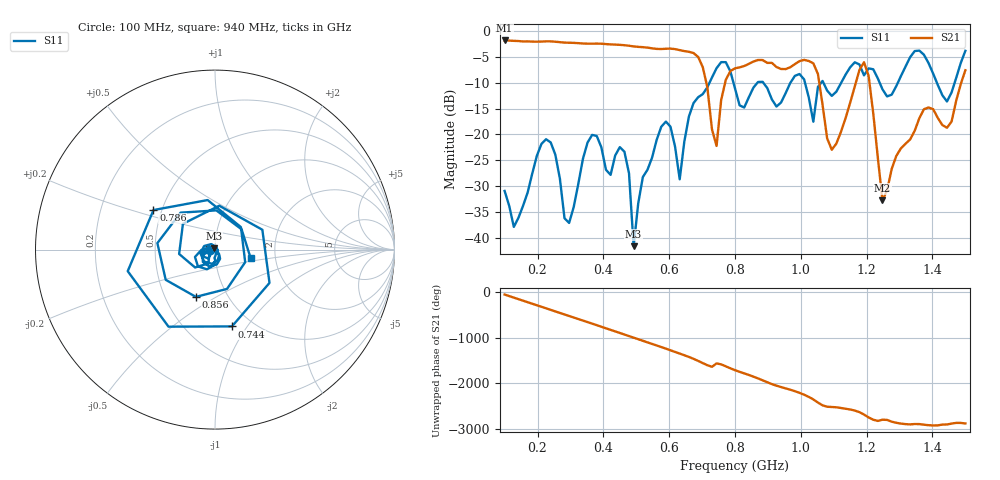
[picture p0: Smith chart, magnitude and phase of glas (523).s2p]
! NanoVNA-App
! Date: 2025-09-25 15:59:33
! Start: 100MHz Stop: 1,5GHz Points: 101
! S-Parameter data: F S11 S21 S12 S22
# Hz S RI R 50
!  Frequency  S11_Real  S11_Imag  S21_Real  S21_Imag  S12_Real  S12_Imag  S22_Real  S22_Imag
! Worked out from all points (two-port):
!   101 points, 100 MHz to 1.5 GHz, reference 50 ohm
!   highest |S21| = -1.80 dB at 100 MHz (marker M1); lowest = -32.8 dB at 1.248 GHz (marker M2)
!   |S21| within 3 dB of the highest: start of sweep to 684.5 MHz
!   lowest |S11| = -41.6 dB at 492 MHz (marker M3), VSWR 1.02, Z = 49.5 + j0.647 ohm
!   |S11| at or under -10 dB: start of sweep to 722.4 MHz; 795.4 MHz to 867.9 MHz (72.56 MHz wide, 8.73 % of centre); 886.2 MHz to 968.3 MHz (82.07 MHz wide, 8.85 % of centre) (the widest 3 of 7)
!   S12 and S22 are empty: the file has one direction only
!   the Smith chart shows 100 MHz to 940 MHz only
!   S11 on the Smith chart (normalised r, x): 100 MHz: 0.95, -0.01; 744 MHz: 0.81, -0.85; 786 MHz: 0.45, +0.24; 856 MHz: 0.71, -0.41; 940 MHz: 1.49, -0.15
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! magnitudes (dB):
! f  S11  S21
! 100 MHz  -30.9  -1.8
! 128 MHz  -37.9  -1.9
! 226 MHz  -20.9  -2.0
! 296 MHz  -37.1  -2.2
! 338 MHz  -24.7  -2.4
! 464 MHz  -23.3  -2.7
! 492 MHz  -41.6  -3.0
! 576 MHz  -18.5  -3.5
! 632 MHz  -28.7  -3.7
! 702 MHz  -12.2  -6.9
! 744 MHz  -7.2  -22.2
! 786 MHz  -7.8  -7.7
! 800 MHz  -11.1  -7.2
! 856 MHz  -10.9  -5.9
! 940 MHz  -13.8  -7.3
! 1.038 GHz  -17.5  -6.2
! 1.094 GHz  -12.5  -23.0
! 1.192 GHz  -8.6  -6.0
! 1.248 GHz  -11.3  -32.8
! 1.276 GHz  -12.3  -26.7
! 1.444 GHz  -13.6  -18.7
! 1.5 GHz  -3.8  -7.6
